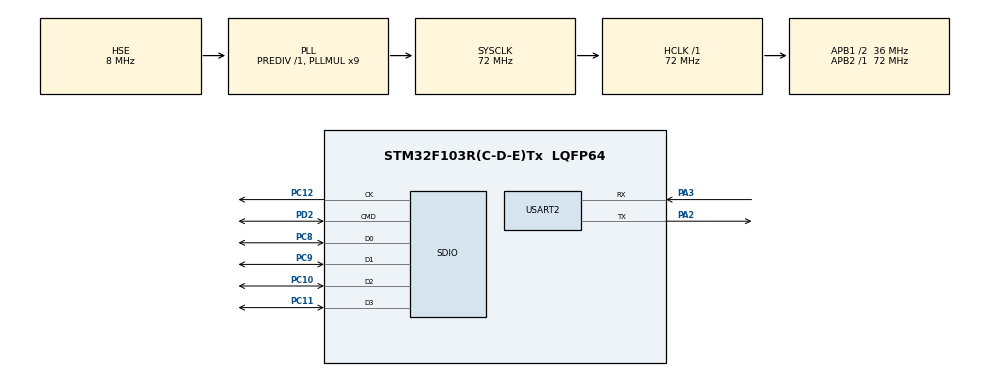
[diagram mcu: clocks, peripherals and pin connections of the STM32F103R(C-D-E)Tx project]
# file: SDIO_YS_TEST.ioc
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Dma.Request0=SDIO
Dma.SDIO.0.Direction=DMA_PERIPH_TO_MEMORY
Dma.SDIO.0.Instance=DMA2_Channel4
Dma.SDIO.0.MemDataAlignment=DMA_MDATAALIGN_WORD
Dma.SDIO.0.MemInc=DMA_MINC_ENABLE
Dma.SDIO.0.Mode=DMA_NORMAL
Dma.SDIO.0.PeriphDataAlignment=DMA_PDATAALIGN_WORD
Dma.SDIO.0.PeriphInc=DMA_PINC_DISABLE
Dma.SDIO.0.Priority=DMA_PRIORITY_LOW
FATFS._CODE_PAGE=936
FATFS._FS_NORTC=1
FATFS._FS_RPATH=2
FATFS._MAX_SS=4096
FATFS._USE_LFN=2
Mcu.Family=STM32F1
Mcu.Name=STM32F103R(C-D-E)Tx
Mcu.Package=LQFP64
NVIC.DMA2_Channel4_5_IRQn=true\:0\:0\:false\:false\:true
NVIC.PriorityGroup=NVIC_PRIORITYGROUP_4
NVIC.SDIO_IRQn=true\:0\:0\:false\:false\:true
NVIC.USART2_IRQn=true\:0\:0\:false\:false\:true
PA13.Mode=Serial_Wire
PA13.Signal=SYS_JTMS-SWDIO
PA14.Mode=Serial_Wire
PA14.Signal=SYS_JTCK-SWCLK
PA2.Mode=Asynchronous
PA2.Signal=USART2_TX
PA3.Mode=Asynchronous
PA3.Signal=USART2_RX
PC10.Mode=SD_4_bits_Wide_bus
PC10.Signal=SDIO_D2
PC11.Mode=SD_4_bits_Wide_bus
PC11.Signal=SDIO_D3
PC12.Mode=SD_4_bits_Wide_bus
PC12.Signal=SDIO_CK
PC8.Mode=SD_4_bits_Wide_bus
PC8.Signal=SDIO_D0
PC9.Mode=SD_4_bits_Wide_bus
PC9.Signal=SDIO_D1
PD0-OSC_IN.Mode=HSE-External-Oscillator
PD0-OSC_IN.Signal=RCC_OSC_IN
PD1-OSC_OUT.Mode=HSE-External-Oscillator
PD1-OSC_OUT.Signal=RCC_OSC_OUT
PD2.Mode=SD_4_bits_Wide_bus
PD2.Signal=SDIO_CMD
ProjectManager.HeapSize=0x200
ProjectManager.StackSize=0x400
ProjectManager.TargetToolchain=MDK-ARM V5
RCC.AHBFreq_Value=72000000
RCC.APB1CLKDivider=RCC_HCLK_DIV2
RCC.APB1Freq_Value=36000000
RCC.APB1TimFreq_Value=72000000
RCC.APB2Freq_Value=72000000
RCC.APB2TimFreq_Value=72000000
RCC.HCLKFreq_Value=72000000
RCC.PLLMUL=RCC_PLL_MUL9
RCC.PLLSourceVirtual=RCC_PLLSOURCE_HSE
RCC.SYSCLKFreq_VALUE=72000000
RCC.SYSCLKSource=RCC_SYSCLKSOURCE_PLLCLK
RCC.USBFreq_Value=72000000
SDIO.ClockDiv=2
USART2.VirtualMode=VM_ASYNC
VP_FATFS_VS_Generic.Mode=User_defined
VP_FATFS_VS_SDIO.Mode=SDIO
board=SDIO_YS_TEST

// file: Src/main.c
/**
  ******************************************************************************
  * File Name          : main.c
  * Description        : Main program body
  ******************************************************************************
  * This notice applies to any and all portions of this file
  * that are not between comment pairs USER CODE BEGIN and
  * USER CODE END. Other portions of this file, whether
  * inserted by the user or by software development tools
  * are owned by their respective copyright owners.
  *
  * Copyright (c) 2017 STMicroelectronics International N.V.
  * All rights reserved.
  *
  * Redistribution and use in source and binary forms, with or without
  * modification, are permitted, provided that the following conditions are met:
  *
  * 1. Redistribution of source code must retain the above copyright notice,
  *    this list of conditions and the following disclaimer.
  * 2. Redistributions in binary form must reproduce the above copyright notice,
  *    this list of conditions and the following disclaimer in the documentation
  *    and/or other materials provided with the distribution.
  * 3. Neither the name of STMicroelectronics nor the names of other
  *    contributors to this software may be used to endorse or promote products
  *    derived from this software without specific written permission.
  * 4. This software, including modifications and/or derivative works of this
  *    software, must execute solely and exclusively on microcontroller or
  *    microprocessor devices manufactured by or for STMicroelectronics.
  * 5. Redistribution and use of this software other than as permitted under
  *    this license is void and will automatically terminate your rights under
  *    this license.
  *
  * THIS SOFTWARE IS PROVIDED BY STMICROELECTRONICS AND CONTRIBUTORS "AS IS"
  * AND ANY EXPRESS, IMPLIED OR STATUTORY WARRANTIES, INCLUDING, BUT NOT
  * LIMITED TO, THE IMPLIED WARRANTIES OF MERCHANTABILITY, FITNESS FOR A
  * PARTICULAR PURPOSE AND NON-INFRINGEMENT OF THIRD PARTY INTELLECTUAL PROPERTY
  * RIGHTS ARE DISCLAIMED TO THE FULLEST EXTENT PERMITTED BY LAW. IN NO EVENT
  * SHALL STMICROELECTRONICS OR CONTRIBUTORS BE LIABLE FOR ANY DIRECT, INDIRECT,
  * INCIDENTAL, SPECIAL, EXEMPLARY, OR CONSEQUENTIAL DAMAGES (INCLUDING, BUT NOT
  * LIMITED TO, PROCUREMENT OF SUBSTITUTE GOODS OR SERVICES; LOSS OF USE, DATA,
  * OR PROFITS; OR BUSINESS INTERRUPTION) HOWEVER CAUSED AND ON ANY THEORY OF
  * LIABILITY, WHETHER IN CONTRACT, STRICT LIABILITY, OR TORT (INCLUDING
  * NEGLIGENCE OR OTHERWISE) ARISING IN ANY WAY OUT OF THE USE OF THIS SOFTWARE,
  * EVEN IF ADVISED OF THE POSSIBILITY OF SUCH DAMAGE.
  *
  ******************************************************************************
  */
#include "main.h"
#include "stm32f1xx_hal.h"
#include "dma.h"
#include "fatfs.h"
#include "sdio.h"
#include "usart.h"
#include "gpio.h"

/* USER CODE BEGIN Includes */
#include "ff_gen_drv.h"
#include "sd_diskio.h"

/* USER CODE END Includes */

/* USER CODE BEGIN PV */
/* Private variables ---------------------------------------------------------*/

char SDPath[4];  //SD卡逻辑设备路径
FRESULT f_res = 0;  //文件操作结果
FATFS fs;   //FatFs文件系统对象
FIL file;   //文件对象
UINT funm;  //文件成功读写数量
BYTE ReadBuffer[1024]={0};  //读缓冲区
BYTE WriteBuffer[]="\r\n从明天起，做一个幸福的人 \r\n喂马，劈柴，周游世界\n";  //写缓冲区

/* USER CODE END PV */

void SystemClock_Config(void);

/* USER CODE BEGIN PFP */
/* Private function prototypes -----------------------------------------------*/

/* USER CODE END PFP */

/* USER CODE BEGIN 0 */
static void printf_fatfs_error(FRESULT fresult);
/* USER CODE END 0 */

int main(void)
{

  /* MCU Configuration----------------------------------------------------------*/

  /* Reset of all peripherals, Initializes the Flash interface and the Systick. */
  HAL_Init();

  /* Configure the system clock */
  SystemClock_Config();

  /* Initialize all configured peripherals */
  MX_GPIO_Init();
  MX_DMA_Init();
  MX_SDIO_SD_Init();
  MX_FATFS_Init();
  MX_USART2_UART_Init();

  /* USER CODE BEGIN 2 */

	printf("**********这是一个基于串行FLASH的FATFS文件系统实验***********\r\n");

	///* 注册一个FatFs设备：SD卡 */
	if ( FATFS_LinkDriver(&SD_Driver,SDPath) == 0 )
	{
		//在SD卡挂载文件系统，文件系统挂载时会对SD卡初始化
		f_res = f_mount( &fs,(TCHAR const*)SDPath,1 );
		printf_fatfs_error(f_res);

		///*-------------格式化测试---------------------*/
		///* 如果没有文件系统就格式化创建文件系统 */
		if( f_res == FR_NO_FILESYSTEM )
		{
			printf(" >> SD卡还没有文件系统，即将进行格式化... \n ");
			///* 格式化 */
			f_res = f_mkdir( (TCHAR const*)SDPath );

			if ( f_res == FR_OK )
			{
				printf(" >> SD卡已经成功格式化文件系统... \n ");
				///* 格式化后，先取消挂载 */
				f_res = f_mount(NULL,(TCHAR const*)SDPath,1);
				///* 重新挂载 */
				f_res = f_mount(&fs,(TCHAR const*)SDPath,1);

			}
			else
			{
				printf("<<格式化失败...>> \n");
			}

		}
		else if( f_res != FR_OK )
		{
			printf("！！SD卡挂载文件系统失败...\n");
			printf_fatfs_error(f_res);
		}
		else
		{
			printf(">> 文件系统挂载成功，可以进行读写测试 \n");
		}

		///*************文件系统测试--写测试***********************/
		///*打开文件，如果不存在就创建*/
		f_res=f_open(&file,"FatFs读写测试文件.txt",FA_CREATE_ALWAYS|FA_WRITE);
		if( f_res == FR_OK )
		{
			printf(">> 打开、创建FATFS读写测试文件成功，想文件写入数据。\n");
			///*将制定存储区的内容写入到文件内*/
			f_res = f_write(&file,WriteBuffer,sizeof(WriteBuffer),&funm);
			if(f_res==FR_OK)
			{
				printf(">>文件写入成功，写入字节数数据：%d\n",funm);
				printf(">>向文件写入的数据为：\n%s\n",WriteBuffer);
			}
			else
			{
				printf("!!文件写入失败：%d\n",f_res);
			}
			///*关闭文件*/
			f_close(&file);
		}
		else
		{
			printf("!!打开创建文件失败。\n");
		}

		///*-------------------文件系统测试：读测试--------------------------*/
		f_res = f_open(&file, "FatFs读写测试文件.txt", FA_OPEN_EXISTING | FA_READ);
    if(f_res == FR_OK)
    {
      printf("》打开文件成功。\n");
      f_res = f_read(&file, ReadBuffer, sizeof(ReadBuffer), &funm);
      if(f_res==FR_OK)
      {
        printf("》文件读取成功,读到字节数据：%d\n",funm);
        printf("》读取得的文件数据为：\n%s \n", ReadBuffer);
      }
      else
      {
        printf("！！文件读取失败：(%d)\n",f_res);
      }
    }
    else
    {
      printf("！！打开文件失败。\n");
    }
    /* 不再读写，关闭文件 */
    f_close(&file);

    /* 不再使用，取消挂载 */
    f_res = f_mount(NULL,(TCHAR const*)SDPath,1);
  }

  /* 注销一个FatFS设备：SD卡 */
  FATFS_UnLinkDriver(SDPath);

  /* USER CODE END 2 */

  /* Infinite loop */
  while (1)
  {

  }

}

/** System Clock Configuration
*/
void SystemClock_Config(void)
{

  RCC_OscInitTypeDef RCC_OscInitStruct;
  RCC_ClkInitTypeDef RCC_ClkInitStruct;

    /**Initializes the CPU, AHB and APB busses clocks
    */
  RCC_OscInitStruct.OscillatorType = RCC_OSCILLATORTYPE_HSE;
  RCC_OscInitStruct.HSEState = RCC_HSE_ON;
  RCC_OscInitStruct.HSEPredivValue = RCC_HSE_PREDIV_DIV1;
  RCC_OscInitStruct.HSIState = RCC_HSI_ON;
  RCC_OscInitStruct.PLL.PLLState = RCC_PLL_ON;
  RCC_OscInitStruct.PLL.PLLSource = RCC_PLLSOURCE_HSE;
  RCC_OscInitStruct.PLL.PLLMUL = RCC_PLL_MUL9;
  if (HAL_RCC_OscConfig(&RCC_OscInitStruct) != HAL_OK)
  {
    _Error_Handler(__FILE__, __LINE__);
  }

    /**Initializes the CPU, AHB and APB busses clocks
    */
  RCC_ClkInitStruct.ClockType = RCC_CLOCKTYPE_HCLK|RCC_CLOCKTYPE_SYSCLK
                              |RCC_CLOCKTYPE_PCLK1|RCC_CLOCKTYPE_PCLK2;
  RCC_ClkInitStruct.SYSCLKSource = RCC_SYSCLKSOURCE_PLLCLK;
  RCC_ClkInitStruct.AHBCLKDivider = RCC_SYSCLK_DIV1;
  RCC_ClkInitStruct.APB1CLKDivider = RCC_HCLK_DIV2;
  RCC_ClkInitStruct.APB2CLKDivider = RCC_HCLK_DIV1;

  if (HAL_RCC_ClockConfig(&RCC_ClkInitStruct, FLASH_LATENCY_2) != HAL_OK)
  {
    _Error_Handler(__FILE__, __LINE__);
  }

    /**Configure the Systick interrupt time
    */
  HAL_SYSTICK_Config(HAL_RCC_GetHCLKFreq()/1000);

    /**Configure the Systick
    */
  HAL_SYSTICK_CLKSourceConfig(SYSTICK_CLKSOURCE_HCLK);

  /* SysTick_IRQn interrupt configuration */
  HAL_NVIC_SetPriority(SysTick_IRQn, 0, 0);
}

/* USER CODE BEGIN 4 */

/**
  * 函数功能: FatFS文件系统操作结果信息处理.
  * 输入参数: FatFS文件系统操作结果：FRESULT
  * 返 回 值: 无
  * 说    明: 无
  */
static void printf_fatfs_error(FRESULT fresult)
{
  switch(fresult)
  {
    case FR_OK:                   //(0)
      printf("》操作成功。\n");
    break;
    case FR_DISK_ERR:             //(1)
      printf("！！硬件输入输出驱动出错。\n");
    break;
    case FR_INT_ERR:              //(2)
      printf("！！断言错误。\n");
    break;
    case FR_NOT_READY:            //(3)
      printf("！！物理设备无法工作。\n");
    break;
    case FR_NO_FILE:              //(4)
      printf("！！无法找到文件。\n");
    break;
    case FR_NO_PATH:              //(5)
      printf("！！无法找到路径。\n");
    break;
    case FR_INVALID_NAME:         //(6)
      printf("！！无效的路径名。\n");
    break;
    case FR_DENIED:               //(7)
    case FR_EXIST:                //(8)
      printf("！！拒绝访问。\n");
    break;
    case FR_INVALID_OBJECT:       //(9)
      printf("！！无效的文件或路径。\n");
    break;
    case FR_WRITE_PROTECTED:      //(10)
      printf("！！逻辑设备写保护。\n");
    break;
    case FR_INVALID_DRIVE:        //(11)
      printf("！！无效的逻辑设备。\n");
    break;
    case FR_NOT_ENABLED:          //(12)
      printf("！！无效的工作区。\n");
    break;
    case FR_NO_FILESYSTEM:        //(13)
      printf("！！无效的文件系统。\n");
    break;
    case FR_MKFS_ABORTED:         //(14)
      printf("！！因函数参数问题导致f_mkfs函数操作失败。\n");
    break;
    case FR_TIMEOUT:              //(15)
      printf("！！操作超时。\n");
    break;
    case FR_LOCKED:               //(16)
      printf("！！文件被保护。\n");
    break;
    case FR_NOT_ENOUGH_CORE:      //(17)
      printf("！！长文件名支持获取堆空间失败。\n");
    break;
    case FR_TOO_MANY_OPEN_FILES:  //(18)
      printf("！！打开太多文件。\n");
    break;
    case FR_INVALID_PARAMETER:    // (19)
      printf("！！参数无效。\n");
    break;
  }
}

/* USER CODE END 4 */

void _Error_Handler(char * file, int line)
{
  while(1)
  {
  }
}

/************************ (C) COPYRIGHT STMicroelectronics *****END OF FILE****/
